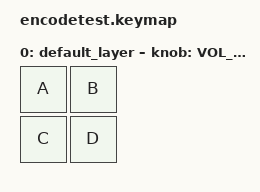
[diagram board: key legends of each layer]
// This file was generated from a template. Edit it to match your keyboard.
// See https://zmk.dev/docs/development/hardware-integration/new-shield for more instructions.

#include <behaviors.dtsi>
#include <dt-bindings/zmk/keys.h>

/ {
    // Define a default keymap here.
    // See https://zmk.dev/docs/development/hardware-integration/new-shield#default-keymap.
    keymap {
        compatible = "zmk,keymap";

        default_layer {
            sensor-bindings = <&inc_dec_kp C_VOL_UP C_VOL_DN>;
            bindings = <
                &kp A &kp B
                &kp C &kp D
            >;
        };
    };
};
